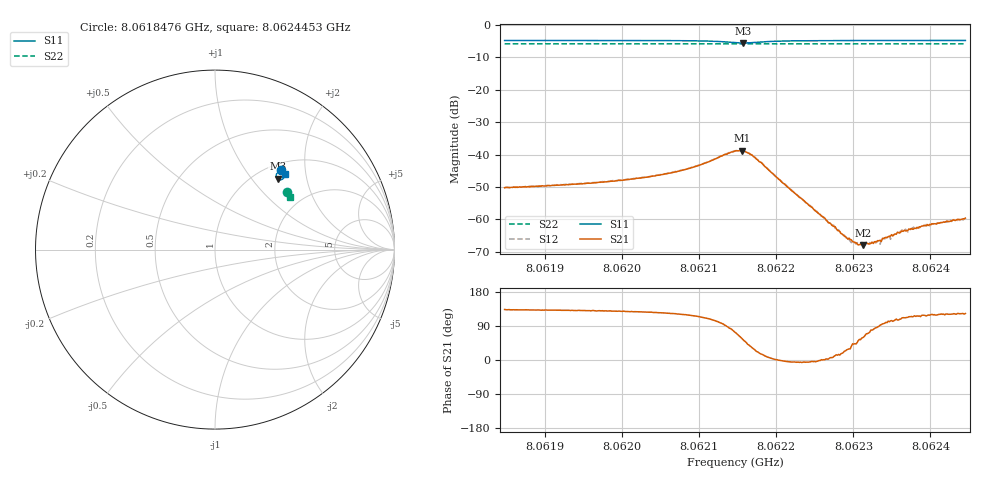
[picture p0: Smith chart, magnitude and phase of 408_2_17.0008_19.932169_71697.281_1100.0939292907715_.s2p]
#  HZ  S  RI  R  50.00
! Rohde & Schwarz Vector Network Analyzer
! Rohde-Schwarz,ZNB20-2Port,1311601062101988,3.16
! Created: UTC 3/20/2024, 11:10:20 PM
! freq[Hz]  re:S11  im:S11  re:S21  im:S21  re:S12  im:S12  re:S22  im:S22
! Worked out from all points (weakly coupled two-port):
!   401 points, 8.0618476 GHz to 8.0624453 GHz, reference 50 ohm
!   highest |S21| = -38.77 dB at 8.0621554 GHz (marker M1); lowest = -67.9 dB at 8.0623123 GHz (marker M2)
!   lowest |S11| = -5.6 dB at 8.0621569 GHz (marker M3), VSWR 3.23, Z = 62.4 + j68.1 ohm
!   |S11| at or under -10 dB: nowhere
!   |S22| runs from -5.9 to -5.8 dB; largest |S21 - S12| = 0.00081
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8.06184757e9  0.3673 0.4439  -0.00211 0.00224  -0.00199 0.00241  0.3988 0.3207
8.0619477e9  0.3743 0.4375  -0.0023 0.00268  -0.00219 0.00287  0.4027 0.3157
8.062e9  0.3784 0.4333  -0.00249 0.00315  -0.00235 0.00331  0.4046 0.3131
8.06204782e9  0.3826 0.4277  -0.00274 0.00396  -0.00254 0.00414  0.4065 0.3106
8.06209713e9  0.3868 0.4161  -0.00287 0.00604  -0.00253 0.00623  0.4083 0.3075
8.06214645e9  0.365 0.3891  0.00332 0.0109  0.00397 0.0107  0.4084 0.3043
8.06215541e9  0.3511 0.3929  0.00629 0.00966  0.00698 0.0093  0.4081 0.3042
8.06215691e9  0.349 0.3945  0.0067 0.00905  0.00735 0.00877  0.408 0.3043
8.06217185e9  0.341 0.4155  0.00811 0.00421  0.00838 0.00372  0.4088 0.3045
8.06224657e9  0.3722 0.4345  0.00152 -9.65e-05  0.00154 -0.000182  0.4128 0.3013
8.06228692e9  0.3788 0.4318  0.000541 0.000192  0.000561 0.000128  0.4145 0.2992
8.06229439e9  0.3797 0.4313  0.000449 0.000253  0.000446 0.000209  0.4146 0.2988
8.06230485e9  0.381 0.4306  0.000293 0.000302  0.000322 0.000297  0.4151 0.2982
8.06230933e9  0.3813 0.4303  0.000243 0.000329  0.000283 0.000332  0.4152 0.2982
8.06231232e9  0.3818 0.4301  0.000207 0.000344  0.000201 0.00039  0.4153 0.2981
8.06231681e9  0.3823 0.4299  0.000155 0.000409  0.000211 0.000395  0.4155 0.2977
8.06233175e9  0.3836 0.4287  2.06e-05 0.00047  4.07e-05 0.000471  0.4161 0.2969
8.06234669e9  0.3851 0.4278  -0.000104 0.000535  -8.8e-05 0.00055  0.4165 0.2961
8.06236463e9  0.3866 0.4266  -0.000242 0.000608  -0.000181 0.000641  0.4173 0.2953
8.0623721e9  0.3872 0.4264  -0.000293 0.000649  -0.000219 0.000634  0.4175 0.2949
8.06239302e9  0.3889 0.425  -0.000373 0.000714  -0.000311 0.000745  0.4182 0.2937
8.06244532e9  0.3925 0.4219  -0.000567 0.000882  -0.000493 0.000913  0.4201 0.2909
